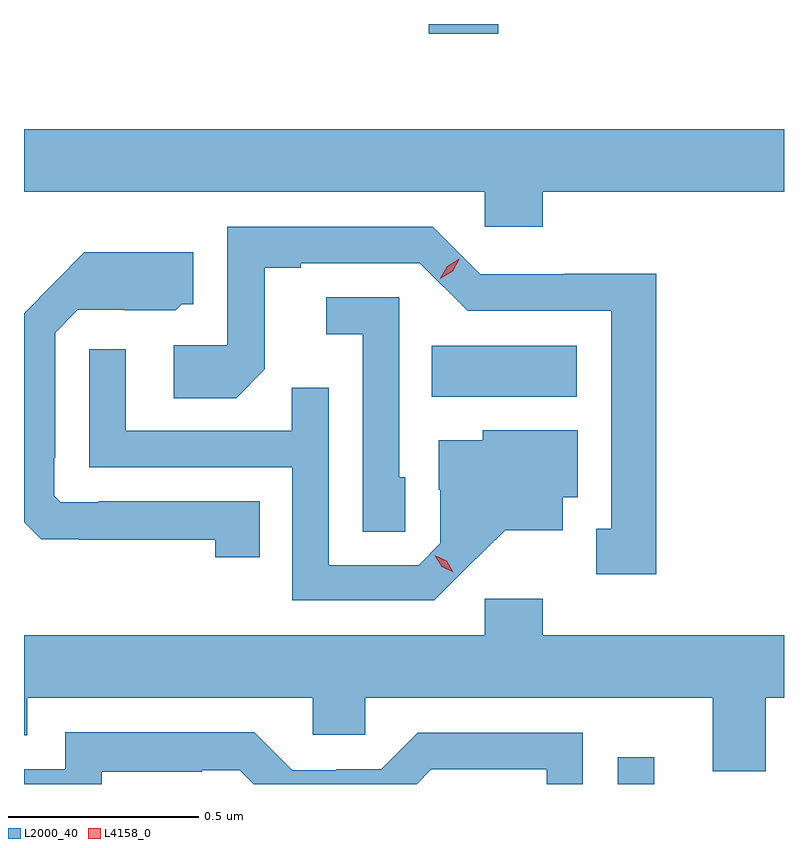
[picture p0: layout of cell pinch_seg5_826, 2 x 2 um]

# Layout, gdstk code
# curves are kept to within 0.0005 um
import gdstk
lib = gdstk.Library(unit=1e-6, precision=1e-09)
def R(c, l, rs):  # rectangles x0, y0, x1, y1
    for r in rs: c.add(gdstk.rectangle(r[:2], r[2:], *l))
def P(c, l, *ps):  # polygons
    for p in ps: c.add(gdstk.Polygon(p, *l))
L2000_40 = (2000, 40)
L4158_0 = (4158, 0)

pinch_seg5_826 = lib.new_cell('pinch_seg5_826')
R(pinch_seg5_826, L2000_40, [(758.347,908.481,758.443,908.551), (757.858,909.5,758.239,909.634), (757.85,910.455,758.033,910.481)])
P(pinch_seg5_826, L2000_40, [(758.15,910.04),(758.785,910.04),(758.785,910.204),(756.785,910.204),(756.785,910.04),(757.998,910.04),(757.998,909.947),(758.15,909.947)],
  [(758.449,909.824),(758.208,909.824),(758.208,909.822),(757.986,909.822),(757.86,909.948),(757.32,909.948),(757.32,909.636),(757.179,909.636),(757.179,909.496),(757.343,909.496),(757.419,909.572),(757.419,909.84),(757.513,909.84),(757.513,909.852),(757.827,909.852),(757.953,909.726),(758.33,909.726),(758.33,909.153),(758.291,909.153),(758.291,909.033),(758.449,909.033)],
  [(757.406,909.225),(756.982,909.225),(756.982,909.222),(756.882,909.222),(756.864,909.24),(756.864,909.34),(756.867,909.34),(756.867,909.669),(756.927,909.729),(757.05,909.729),(757.05,909.728),(757.184,909.728),(757.2,909.744),(757.231,909.744),(757.231,909.88),(756.943,909.88),(756.785,909.72),(756.785,909.17),(756.83,909.125),(756.931,909.125),(756.931,909.124),(757.288,909.124),(757.288,909.078),(757.406,909.078)],
  [(757.788,909.288),(757.773,909.288),(757.773,909.762),(757.581,909.762),(757.581,909.665),(757.677,909.665),(757.677,909.145),(757.788,909.145)],
  [(757.948,909.047),(758.051,909.149),(758.203,909.149),(758.203,909.236),(758.242,909.236),(758.242,909.412),(757.992,909.412),(757.992,909.385),(757.877,909.385),(757.877,909.256),(757.881,909.256),(757.881,909.114),(757.824,909.057),(757.587,909.057),(757.587,909.524),(757.489,909.524),(757.489,909.411),(757.053,909.411),(757.053,909.625),(756.957,909.625),(756.957,909.315),(757.491,909.315),(757.491,908.964),(757.864,908.964)],
  [(758.737,908.708),(758.785,908.708),(758.785,908.872),(758.15,908.872),(758.15,908.968),(757.998,908.968),(757.998,908.872),(756.785,908.872),(756.785,908.609),(756.793,908.609),(756.793,908.708),(757.545,908.708),(757.545,908.61),(757.683,908.61),(757.683,908.708),(758.597,908.708),(758.597,908.514),(758.737,908.514)],
  [(756.99,908.513),(757.253,908.513),(757.253,908.517),(757.353,908.517),(757.389,908.481),(757.818,908.481),(757.857,908.52),(758.16,908.52),(758.16,908.481),(758.256,908.481),(758.256,908.616),(757.821,908.616),(757.725,908.52),(757.607,908.52),(757.607,908.517),(757.491,908.517),(757.391,908.617),(756.894,908.617),(756.894,908.52),(756.785,908.52),(756.785,908.481),(756.99,908.481)])
P(pinch_seg5_826, L4158_0, [(757.881,909.811),(757.881,909.812),(757.899,909.844),(757.93,909.863),(757.931,909.863),(757.931,909.862),(757.913,909.83),(757.881,909.811)],
  [(757.915,909.038),(757.884,909.053),(757.866,909.083),(757.866,909.083),(757.866,909.083),(757.897,909.068),(757.915,909.038),(757.915,909.038)])

lib.write_gds('pinch_seg5_826.gds')
